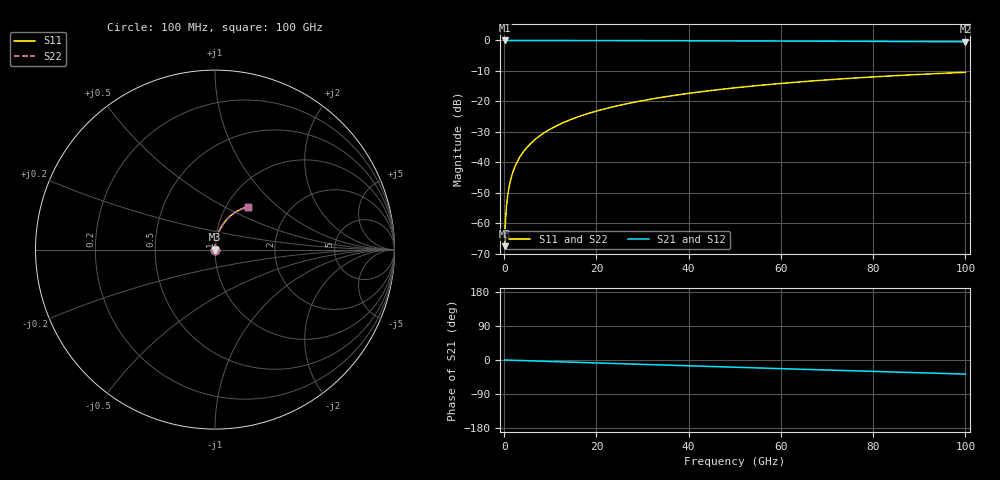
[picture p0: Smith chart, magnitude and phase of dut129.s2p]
! Touchstone file exported from HFSS 2026.1.0
!  File:  C:/ffzhzh/LocalFiles/Ansys_Project_Files/temp_train_TSV_129_1783506234_9504.aedt
!  Generated:  06:25:20 PM Jul  8, 2026
!  Design:  TSV
!  Project:  temp_train_TSV_129_1783506234_9504
! Variables:
!  h_bsmrdl = 2um
!  h_ox = 20um
!  h_rdl = 5um
!  h_sub = 57.54um
!  h_tmrdl = 5um
!  h_tsv = 57.54um
!  h_via = 3um
!  l_bsmrdl = 300um
!  l_sub = 413.7um
!  l_tmrdl = 200um
!  m_sub = 200um
!  pitch = 59.64um
!  r_tsv = 6.85um
!  s_tmrdl = 10um
!  w_bsmrdl = 18um
!  w_sub = 500um
!  w_tmrdl = 12um
!  x_tsv_center1 = 206um
!  x_tsv_center2 = 524um
!  x_tsv_center3 = 736um
!  x_tsv_center4 = 1054um
!  x_tsv_center5 = 1266um
!  x_tsv_center6 = 1584um
# GHz S MA R 50.000000
! Terminal data exported
! Port[1] = TSV1_1_T1
! Port[2] = TSV1_1_T2
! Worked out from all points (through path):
!   1000 points, 100 MHz to 100 GHz, reference 50 ohm
!   highest |S21| = 0.00 dB at 100 MHz (marker M1); lowest = -0.4 dB at 100 GHz (marker M2)
!   group delay of S21, straight-line fit = 1.03 ps
!   lowest |S11| = -67.6 dB at 100 MHz (marker M3), VSWR 1.00, Z = 50 + j0.0381 ohm
!   |S11| at or under -10 dB: start of sweep to end of sweep
!   |S22| runs from -67.6 to -10.5 dB; largest |S21 - S12| = 3.5e-15
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0.1  0.0004188 65.3  0.9998 -0.0  0.9998 -0.0  0.0004188 65.3
! Gamma 0 0 0 0
! Port Impedance 50 0 50 0
0.3  0.00114 79.9  0.9998 -0.1  0.9998 -0.1  0.00114 79.9
0.7  0.002588 84.5  0.9998 -0.3  0.9998 -0.3  0.002588 84.5
0.8  0.002949 84.9  0.9997 -0.3  0.9997 -0.3  0.002949 84.9
1  0.003671 85.5  0.9997 -0.4  0.9997 -0.4  0.003671 85.5
1.3  0.004751 85.9  0.9997 -0.5  0.9997 -0.5  0.004751 85.9
1.7  0.006181 86.2  0.9996 -0.7  0.9996 -0.7  0.006181 86.2
2.3  0.008308 86.3  0.9996 -0.9  0.9996 -0.9  0.008308 86.3
2.9  0.01042 86.3  0.9995 -1.1  0.9995 -1.1  0.01042 86.3
3.7  0.01321 86.2  0.9994 -1.5  0.9994 -1.5  0.01321 86.2
4.7  0.01669 86.1  0.9993 -1.8  0.9993 -1.8  0.01669 86.1
5.8  0.02051 85.9  0.9991 -2.3  0.9991 -2.3  0.02051 85.9
8.7  0.03056 85.1  0.9987 -3.4  0.9987 -3.4  0.03056 85.1
12.3  0.04296 83.9  0.9981 -4.8  0.9981 -4.8  0.04296 83.9
16.8  0.05835 82.4  0.9972 -6.5  0.9972 -6.5  0.05835 82.4
24.2  0.08338 79.7  0.9951 -9.4  0.9951 -9.4  0.08338 79.7
33.4  0.1139 76.3  0.9919 -12.9  0.9919 -12.9  0.1139 76.3
41.2  0.1391 73.5  0.9885 -15.8  0.9885 -15.8  0.1391 73.5
50.1  0.167 70.2  0.984 -19.2  0.984 -19.2  0.167 70.2
66.7  0.216 64.1  0.9742 -25.3  0.9742 -25.3  0.216 64.1
83.4  0.2608 58.2  0.963 -31.3  0.963 -31.3  0.2608 58.2
100  0.3 52.4  0.9513 -37.2  0.9513 -37.2  0.3 52.4
